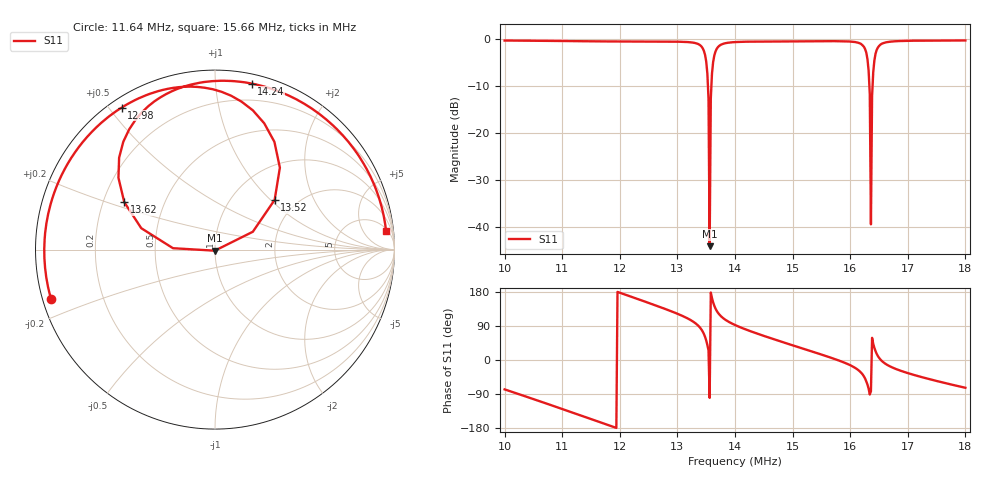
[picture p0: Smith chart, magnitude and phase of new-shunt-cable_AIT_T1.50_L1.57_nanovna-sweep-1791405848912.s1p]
! NanoVNA Web complex sweep
! Processing: original sample grid, no browser smoothing
# Hz S RI R 50
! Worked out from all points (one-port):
!   401 points, 10 MHz to 18 MHz, reference 50 ohm
!   lowest |S11| = -44.2 dB at 13.56 MHz (marker M1), VSWR 1.01, Z = 49.9 - j0.608 ohm
!   |S11| at or under -10 dB: 13.53016 MHz to 13.58996 MHz (59.81 kHz wide, 0.441 % of centre); 16.3333 MHz to 16.38819 MHz (54.89 kHz wide, 0.335 % of centre)
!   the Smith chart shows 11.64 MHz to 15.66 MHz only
!   S11 on the Smith chart (normalised r, x): 11.64 MHz: 0.02, -0.15; 12.98 MHz: 0.04, +0.54; 13.52 MHz: 1.55, +1.06; 13.62 MHz: 0.29, +0.23; 14.24 MHz: 0.07, +1.24; 15.66 MHz: 6, +16
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1e7  0.2102 -0.9507
1.1e7  -0.6098 -0.745
1.164e7  -0.9132 -0.2751
1.2e7  -0.9503 0.0406
1.298e7  -0.5202 0.7911
1.3e7  -0.5025 0.8019
1.33e7  -0.1352 0.9081
1.344e7  0.2109 0.7758
1.35e7  0.3614 0.4565
1.352e7  0.3324 0.2773
1.356e7  -0.00107 -0.00609
1.36e7  -0.4109 0.1193
1.362e7  -0.5056 0.2645
1.376e7  -0.3715 0.7991
1.4e7  -0.0386 0.9362
1.424e7  0.2038 0.9253
1.5e7  0.7451 0.5982
1.566e7  0.953 0.1054
1.6e7  0.9226 -0.2228
1.626e7  0.5119 -0.5959
1.63e7  0.26 -0.5548
1.632e7  0.1147 -0.4496
1.634e7  -0.00499 -0.2606
1.64e7  0.3287 0.304
1.642e7  0.5069 0.3161
1.654e7  0.8933 -0.0184
1.7e7  0.7965 -0.5484
1.8e7  0.2799 -0.9345
